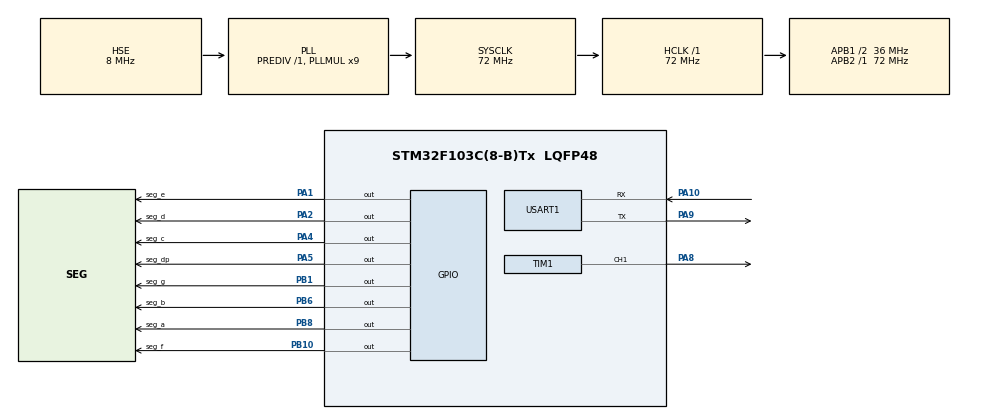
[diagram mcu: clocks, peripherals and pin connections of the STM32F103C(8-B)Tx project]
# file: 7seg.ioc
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Dma.Request0=TIM1_CH1
Dma.TIM1_CH1.0.Direction=DMA_MEMORY_TO_PERIPH
Dma.TIM1_CH1.0.Instance=DMA1_Channel2
Dma.TIM1_CH1.0.MemDataAlignment=DMA_MDATAALIGN_HALFWORD
Dma.TIM1_CH1.0.MemInc=DMA_MINC_ENABLE
Dma.TIM1_CH1.0.Mode=DMA_NORMAL
Dma.TIM1_CH1.0.PeriphDataAlignment=DMA_PDATAALIGN_HALFWORD
Dma.TIM1_CH1.0.PeriphInc=DMA_PINC_DISABLE
Dma.TIM1_CH1.0.Priority=DMA_PRIORITY_LOW
Mcu.Family=STM32F1
Mcu.Name=STM32F103C(8-B)Tx
Mcu.Package=LQFP48
NVIC.DMA1_Channel2_IRQn=true\:0\:0\:false\:false\:true\:false\:true\:true
NVIC.PriorityGroup=NVIC_PRIORITYGROUP_4
NVIC.TIM1_TRG_COM_IRQn=true\:0\:0\:false\:false\:true\:true\:true\:true
PA1.GPIO_Label=seg_e
PA1.Signal=GPIO_Output
PA10.Mode=Asynchronous
PA10.Signal=USART1_RX
PA2.GPIO_Label=seg_d
PA2.Signal=GPIO_Output
PA4.GPIO_Label=seg_c
PA4.Signal=GPIO_Output
PA5.GPIO_Label=seg_dp
PA5.Signal=GPIO_Output
PA8.Signal=S_TIM1_CH1
PA9.Mode=Asynchronous
PA9.Signal=USART1_TX
PB1.GPIO_Label=seg_g
PB1.Signal=GPIO_Output
PB10.GPIO_Label=seg_f
PB10.Signal=GPIO_Output
PB6.GPIO_Label=seg_b
PB6.Signal=GPIO_Output
PB8.GPIO_Label=seg_a
PB8.Signal=GPIO_Output
PD0-OSC_IN.Mode=HSE-External-Oscillator
PD0-OSC_IN.Signal=RCC_OSC_IN
PD1-OSC_OUT.Mode=HSE-External-Oscillator
PD1-OSC_OUT.Signal=RCC_OSC_OUT
ProjectManager.HeapSize=0x200
ProjectManager.StackSize=0x400
ProjectManager.TargetToolchain=Makefile
RCC.AHBFreq_Value=72000000
RCC.APB1CLKDivider=RCC_HCLK_DIV2
RCC.APB1Freq_Value=36000000
RCC.APB1TimFreq_Value=72000000
RCC.APB2Freq_Value=72000000
RCC.APB2TimFreq_Value=72000000
RCC.HCLKFreq_Value=72000000
RCC.PLLMUL=RCC_PLL_MUL9
RCC.PLLSourceVirtual=RCC_PLLSOURCE_HSE
RCC.SYSCLKFreq_VALUE=72000000
RCC.SYSCLKSource=RCC_SYSCLKSOURCE_PLLCLK
RCC.USBFreq_Value=72000000
SH.S_TIM1_CH1.0=TIM1_CH1,PWM Generation1 CH1
TIM1.Channel-PWM\ Generation1\ CH1=TIM_CHANNEL_1
TIM1.Period=1023
USART1.VirtualMode=VM_ASYNC
VP_SYS_VS_ND.Mode=No_Debug
VP_TIM1_VS_ClockSourceINT.Mode=Internal
board=custom

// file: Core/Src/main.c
/* USER CODE BEGIN Header */
/**
  ******************************************************************************
  * @file           : main.c
  * @brief          : Main program body
  ******************************************************************************
  * @attention
  *
  * Copyright (c) 2022 STMicroelectronics.
  * All rights reserved.
  *
  * This software is licensed under terms that can be found in the LICENSE file
  * in the root directory of this software component.
  * If no LICENSE file comes with this software, it is provided AS-IS.
  *
  ******************************************************************************
  */
/* USER CODE END Header */
#include "main.h"
#include "stdio.h"
#include "stdlib.h"
uint8_t receive;

TIM_HandleTypeDef htim1;
DMA_HandleTypeDef hdma_tim1_ch1;

UART_HandleTypeDef huart1;

void SystemClock_Config(void);
static void MX_GPIO_Init(void);
static void MX_DMA_Init(void);
static void MX_USART1_UART_Init(void);
static void MX_TIM1_Init(void);

/* USER CODE BEGIN 0 */
static void reset() {
	receive = '\0'; // do not repeat.
	__HAL_TIM_SET_COMPARE(&htim1, TIM_CHANNEL_1, 0);
	HAL_GPIO_WritePin(seg_a_GPIO_Port, seg_a_Pin, GPIO_PIN_RESET);
	HAL_GPIO_WritePin(seg_b_GPIO_Port, seg_b_Pin, GPIO_PIN_RESET);
	HAL_GPIO_WritePin(seg_c_GPIO_Port, seg_c_Pin, GPIO_PIN_RESET);
	HAL_GPIO_WritePin(seg_d_GPIO_Port, seg_d_Pin, GPIO_PIN_RESET);
	HAL_GPIO_WritePin(seg_e_GPIO_Port, seg_e_Pin, GPIO_PIN_RESET);
	HAL_GPIO_WritePin(seg_f_GPIO_Port, seg_f_Pin, GPIO_PIN_RESET);
	HAL_GPIO_WritePin(seg_g_GPIO_Port, seg_g_Pin, GPIO_PIN_RESET);
	HAL_GPIO_WritePin(seg_dp_GPIO_Port, seg_dp_Pin, GPIO_PIN_RESET);
}

static void seg(int pin) {
	switch(pin) {
		case 0:
			reset();
			__HAL_TIM_SET_COMPARE(&htim1,TIM_CHANNEL_1, pin*100);
			HAL_GPIO_WritePin(seg_a_GPIO_Port, seg_a_Pin, GPIO_PIN_SET);
			HAL_GPIO_WritePin(seg_f_GPIO_Port, seg_f_Pin, GPIO_PIN_SET);
			HAL_GPIO_WritePin(seg_e_GPIO_Port, seg_e_Pin, GPIO_PIN_SET);
			HAL_GPIO_WritePin(seg_d_GPIO_Port, seg_d_Pin, GPIO_PIN_SET);
			HAL_GPIO_WritePin(seg_c_GPIO_Port, seg_c_Pin, GPIO_PIN_SET);
			HAL_GPIO_WritePin(seg_b_GPIO_Port, seg_b_Pin, GPIO_PIN_SET);
			break;
		case 1:
			reset();
			__HAL_TIM_SET_COMPARE(&htim1,TIM_CHANNEL_1, pin*100);
			HAL_GPIO_WritePin(seg_b_GPIO_Port, seg_b_Pin, GPIO_PIN_SET);
			HAL_GPIO_WritePin(seg_c_GPIO_Port, seg_c_Pin, GPIO_PIN_SET);
			break;
		case 2:
			reset();
			__HAL_TIM_SET_COMPARE(&htim1,TIM_CHANNEL_1, pin*100);
			HAL_GPIO_WritePin(seg_a_GPIO_Port, seg_a_Pin, GPIO_PIN_SET);
			HAL_GPIO_WritePin(seg_b_GPIO_Port, seg_b_Pin, GPIO_PIN_SET);
			HAL_GPIO_WritePin(seg_g_GPIO_Port, seg_g_Pin, GPIO_PIN_SET);
			HAL_GPIO_WritePin(seg_e_GPIO_Port, seg_e_Pin, GPIO_PIN_SET);
			HAL_GPIO_WritePin(seg_d_GPIO_Port, seg_d_Pin, GPIO_PIN_SET);

			break;
		case 3:
			reset();
			__HAL_TIM_SET_COMPARE(&htim1,TIM_CHANNEL_1, pin*100);
			HAL_GPIO_WritePin(seg_a_GPIO_Port, seg_a_Pin, GPIO_PIN_SET);
			HAL_GPIO_WritePin(seg_b_GPIO_Port, seg_b_Pin, GPIO_PIN_SET);
			HAL_GPIO_WritePin(seg_g_GPIO_Port, seg_g_Pin, GPIO_PIN_SET);
			HAL_GPIO_WritePin(seg_c_GPIO_Port, seg_c_Pin, GPIO_PIN_SET);
			HAL_GPIO_WritePin(seg_d_GPIO_Port, seg_d_Pin, GPIO_PIN_SET);
			break;

		case 4:
			reset();
			__HAL_TIM_SET_COMPARE(&htim1,TIM_CHANNEL_1, pin*100);
			HAL_GPIO_WritePin(seg_c_GPIO_Port, seg_c_Pin, GPIO_PIN_SET);
			HAL_GPIO_WritePin(seg_b_GPIO_Port, seg_b_Pin, GPIO_PIN_SET);
			HAL_GPIO_WritePin(seg_g_GPIO_Port, seg_g_Pin, GPIO_PIN_SET);
			HAL_GPIO_WritePin(seg_f_GPIO_Port, seg_f_Pin, GPIO_PIN_SET);
			break;

		case 5:
			reset();
			__HAL_TIM_SET_COMPARE(&htim1,TIM_CHANNEL_1, pin*100);
			HAL_GPIO_WritePin(seg_a_GPIO_Port, seg_a_Pin, GPIO_PIN_SET);
			HAL_GPIO_WritePin(seg_c_GPIO_Port, seg_c_Pin, GPIO_PIN_SET);
			HAL_GPIO_WritePin(seg_g_GPIO_Port, seg_g_Pin, GPIO_PIN_SET);
			HAL_GPIO_WritePin(seg_f_GPIO_Port, seg_f_Pin, GPIO_PIN_SET);
			HAL_GPIO_WritePin(seg_d_GPIO_Port, seg_d_Pin, GPIO_PIN_SET);

			break;
		case 6:
			reset();
			__HAL_TIM_SET_COMPARE(&htim1,TIM_CHANNEL_1, pin*100);
			HAL_GPIO_WritePin(seg_a_GPIO_Port, seg_a_Pin, GPIO_PIN_SET);
			HAL_GPIO_WritePin(seg_c_GPIO_Port, seg_c_Pin, GPIO_PIN_SET);
			HAL_GPIO_WritePin(seg_g_GPIO_Port, seg_g_Pin, GPIO_PIN_SET);
			HAL_GPIO_WritePin(seg_f_GPIO_Port, seg_f_Pin, GPIO_PIN_SET);
			HAL_GPIO_WritePin(seg_d_GPIO_Port, seg_d_Pin, GPIO_PIN_SET);
			HAL_GPIO_WritePin(seg_e_GPIO_Port, seg_e_Pin, GPIO_PIN_SET);
			break;
		case 7:
			reset();
			__HAL_TIM_SET_COMPARE(&htim1,TIM_CHANNEL_1,pin*100);
			HAL_GPIO_WritePin(seg_a_GPIO_Port, seg_a_Pin, GPIO_PIN_SET);
			HAL_GPIO_WritePin(seg_c_GPIO_Port, seg_c_Pin, GPIO_PIN_SET);
			HAL_GPIO_WritePin(seg_b_GPIO_Port, seg_b_Pin, GPIO_PIN_SET);
			break;

		case 8:
			reset();
			__HAL_TIM_SET_COMPARE(&htim1,TIM_CHANNEL_1,pin*100);
			HAL_GPIO_WritePin(seg_a_GPIO_Port, seg_a_Pin, GPIO_PIN_SET);
			HAL_GPIO_WritePin(seg_c_GPIO_Port, seg_c_Pin, GPIO_PIN_SET);
			HAL_GPIO_WritePin(seg_g_GPIO_Port, seg_g_Pin, GPIO_PIN_SET);
			HAL_GPIO_WritePin(seg_f_GPIO_Port, seg_f_Pin, GPIO_PIN_SET);
			HAL_GPIO_WritePin(seg_d_GPIO_Port, seg_d_Pin, GPIO_PIN_SET);
			HAL_GPIO_WritePin(seg_e_GPIO_Port, seg_e_Pin, GPIO_PIN_SET);
			HAL_GPIO_WritePin(seg_b_GPIO_Port, seg_b_Pin, GPIO_PIN_SET);
			break;

		case 9:
			reset();
			__HAL_TIM_SET_COMPARE(&htim1,TIM_CHANNEL_1,pin*100);
			HAL_GPIO_WritePin(seg_a_GPIO_Port, seg_a_Pin, GPIO_PIN_SET);
			HAL_GPIO_WritePin(seg_c_GPIO_Port, seg_c_Pin, GPIO_PIN_SET);
			HAL_GPIO_WritePin(seg_g_GPIO_Port, seg_g_Pin, GPIO_PIN_SET);
			HAL_GPIO_WritePin(seg_f_GPIO_Port, seg_f_Pin, GPIO_PIN_SET);
			HAL_GPIO_WritePin(seg_d_GPIO_Port, seg_d_Pin, GPIO_PIN_SET);
			HAL_GPIO_WritePin(seg_b_GPIO_Port, seg_b_Pin, GPIO_PIN_SET);

			break;

		case 'l' - '0':
			for(int i=0; i<10; i++) {
				seg(i);
				HAL_Delay(1000);
			}
			reset();
		case 'r' - '0':
			reset();
			break;

		case '.' - '0':
			reset();
			HAL_GPIO_WritePin(seg_dp_GPIO_Port, seg_dp_Pin, GPIO_PIN_SET);
			break;

		case 'a'- '0':
			reset();

			HAL_GPIO_WritePin(seg_a_GPIO_Port, seg_a_Pin, GPIO_PIN_SET);
			HAL_GPIO_WritePin(seg_c_GPIO_Port, seg_c_Pin, GPIO_PIN_SET);
			HAL_GPIO_WritePin(seg_g_GPIO_Port, seg_g_Pin, GPIO_PIN_SET);
			HAL_GPIO_WritePin(seg_f_GPIO_Port, seg_f_Pin, GPIO_PIN_SET);
			HAL_GPIO_WritePin(seg_d_GPIO_Port, seg_d_Pin, GPIO_PIN_SET);
			HAL_GPIO_WritePin(seg_b_GPIO_Port, seg_b_Pin, GPIO_PIN_SET);

			break;
		case 'b'- '0':
			reset();

			HAL_GPIO_WritePin(seg_a_GPIO_Port, seg_a_Pin, GPIO_PIN_SET);
			HAL_GPIO_WritePin(seg_c_GPIO_Port, seg_c_Pin, GPIO_PIN_SET);
			HAL_GPIO_WritePin(seg_g_GPIO_Port, seg_g_Pin, GPIO_PIN_SET);
			HAL_GPIO_WritePin(seg_f_GPIO_Port, seg_f_Pin, GPIO_PIN_SET);
			HAL_GPIO_WritePin(seg_d_GPIO_Port, seg_d_Pin, GPIO_PIN_SET);
			HAL_GPIO_WritePin(seg_b_GPIO_Port, seg_b_Pin, GPIO_PIN_SET);

			break;
		case 'c'- '0':
			reset();

			HAL_GPIO_WritePin(seg_a_GPIO_Port, seg_a_Pin, GPIO_PIN_SET);
			HAL_GPIO_WritePin(seg_c_GPIO_Port, seg_c_Pin, GPIO_PIN_SET);
			HAL_GPIO_WritePin(seg_g_GPIO_Port, seg_g_Pin, GPIO_PIN_SET);
			HAL_GPIO_WritePin(seg_f_GPIO_Port, seg_f_Pin, GPIO_PIN_SET);
			HAL_GPIO_WritePin(seg_d_GPIO_Port, seg_d_Pin, GPIO_PIN_SET);
			HAL_GPIO_WritePin(seg_b_GPIO_Port, seg_b_Pin, GPIO_PIN_SET);

			break;
		case 'd'- '0':
			reset();

			HAL_GPIO_WritePin(seg_a_GPIO_Port, seg_a_Pin, GPIO_PIN_SET);
			HAL_GPIO_WritePin(seg_c_GPIO_Port, seg_c_Pin, GPIO_PIN_SET);
			HAL_GPIO_WritePin(seg_g_GPIO_Port, seg_g_Pin, GPIO_PIN_SET);
			HAL_GPIO_WritePin(seg_f_GPIO_Port, seg_f_Pin, GPIO_PIN_SET);
			HAL_GPIO_WritePin(seg_d_GPIO_Port, seg_d_Pin, GPIO_PIN_SET);
			HAL_GPIO_WritePin(seg_b_GPIO_Port, seg_b_Pin, GPIO_PIN_SET);

			break;
		case 'a'- '0':
			reset();

			HAL_GPIO_WritePin(seg_a_GPIO_Port, seg_a_Pin, GPIO_PIN_SET);
			HAL_GPIO_WritePin(seg_c_GPIO_Port, seg_c_Pin, GPIO_PIN_SET);
			HAL_GPIO_WritePin(seg_g_GPIO_Port, seg_g_Pin, GPIO_PIN_SET);
			HAL_GPIO_WritePin(seg_f_GPIO_Port, seg_f_Pin, GPIO_PIN_SET);
			HAL_GPIO_WritePin(seg_d_GPIO_Port, seg_d_Pin, GPIO_PIN_SET);
			HAL_GPIO_WritePin(seg_b_GPIO_Port, seg_b_Pin, GPIO_PIN_SET);

			break;

		case 'e'- '0':
			reset();

			HAL_GPIO_WritePin(seg_a_GPIO_Port, seg_a_Pin, GPIO_PIN_SET);
			HAL_GPIO_WritePin(seg_c_GPIO_Port, seg_c_Pin, GPIO_PIN_SET);
			HAL_GPIO_WritePin(seg_g_GPIO_Port, seg_g_Pin, GPIO_PIN_SET);
			HAL_GPIO_WritePin(seg_f_GPIO_Port, seg_f_Pin, GPIO_PIN_SET);
			HAL_GPIO_WritePin(seg_d_GPIO_Port, seg_d_Pin, GPIO_PIN_SET);
			HAL_GPIO_WritePin(seg_b_GPIO_Port, seg_b_Pin, GPIO_PIN_SET);

			break;

		case 'f' - '0':
			reset();

			HAL_GPIO_WritePin(seg_a_GPIO_Port, seg_a_Pin, GPIO_PIN_SET);
			HAL_GPIO_WritePin(seg_c_GPIO_Port, seg_c_Pin, GPIO_PIN_SET);
			HAL_GPIO_WritePin(seg_g_GPIO_Port, seg_g_Pin, GPIO_PIN_SET);
			HAL_GPIO_WritePin(seg_f_GPIO_Port, seg_f_Pin, GPIO_PIN_SET);
			HAL_GPIO_WritePin(seg_d_GPIO_Port, seg_d_Pin, GPIO_PIN_SET);
			HAL_GPIO_WritePin(seg_b_GPIO_Port, seg_b_Pin, GPIO_PIN_SET);

			break;
		default:
			break;
	}
}

/* USER CODE END 0 */

/**
  * @brief  The application entry poinstm32 uart input poll to integert.
  * @retval int
  */
int main(void)
{

  /* MCU Configuration--------------------------------------------------------*/

  /* Reset of all peripherals, Initializes the Flash interface and the Systick. */
  HAL_Init();

  /* Configure the system clock */
  SystemClock_Config();

  /* Initialize all configured peripherals */
  MX_GPIO_Init();
  MX_DMA_Init();
  MX_USART1_UART_Init();
  MX_TIM1_Init();
  /* USER CODE BEGIN 2 */
  	//TIM1->CCR1 = 100;
  	HAL_TIM_PWM_Start(&htim1, TIM_CHANNEL_1);

  /* USER CODE END 2 */
//	seg(2);
  /* Infinite loop */
  while (1)
  {
	HAL_UART_Receive(&huart1, &receive, 1,100);
	seg(receive - '0');
  }
}

void SystemClock_Config(void)
{
  RCC_OscInitTypeDef RCC_OscInitStruct = {0};
  RCC_ClkInitTypeDef RCC_ClkInitStruct = {0};

  /** Initializes the RCC Oscillators according to the specified parameters
  * in the RCC_OscInitTypeDef structure.
  */
  RCC_OscInitStruct.OscillatorType = RCC_OSCILLATORTYPE_HSE;
  RCC_OscInitStruct.HSEState = RCC_HSE_ON;
  RCC_OscInitStruct.HSEPredivValue = RCC_HSE_PREDIV_DIV1;
  RCC_OscInitStruct.HSIState = RCC_HSI_ON;
  RCC_OscInitStruct.PLL.PLLState = RCC_PLL_ON;
  RCC_OscInitStruct.PLL.PLLSource = RCC_PLLSOURCE_HSE;
  RCC_OscInitStruct.PLL.PLLMUL = RCC_PLL_MUL9;
  if (HAL_RCC_OscConfig(&RCC_OscInitStruct) != HAL_OK)
  {
    Error_Handler();
  }

  /** Initializes the CPU, AHB and APB buses clocks
  */
  RCC_ClkInitStruct.ClockType = RCC_CLOCKTYPE_HCLK|RCC_CLOCKTYPE_SYSCLK
                              |RCC_CLOCKTYPE_PCLK1|RCC_CLOCKTYPE_PCLK2;
  RCC_ClkInitStruct.SYSCLKSource = RCC_SYSCLKSOURCE_PLLCLK;
  RCC_ClkInitStruct.AHBCLKDivider = RCC_SYSCLK_DIV1;
  RCC_ClkInitStruct.APB1CLKDivider = RCC_HCLK_DIV2;
  RCC_ClkInitStruct.APB2CLKDivider = RCC_HCLK_DIV1;

  if (HAL_RCC_ClockConfig(&RCC_ClkInitStruct, FLASH_LATENCY_2) != HAL_OK)
  {
    Error_Handler();
  }
}

static void MX_TIM1_Init(void)
{

  TIM_ClockConfigTypeDef sClockSourceConfig = {0};
  TIM_MasterConfigTypeDef sMasterConfig = {0};
  TIM_OC_InitTypeDef sConfigOC = {0};
  TIM_BreakDeadTimeConfigTypeDef sBreakDeadTimeConfig = {0};

  htim1.Instance = TIM1;
  htim1.Init.Prescaler = 0;
  htim1.Init.CounterMode = TIM_COUNTERMODE_UP;
  htim1.Init.Period = 1023;
  htim1.Init.ClockDivision = TIM_CLOCKDIVISION_DIV1;
  htim1.Init.RepetitionCounter = 0;
  htim1.Init.AutoReloadPreload = TIM_AUTORELOAD_PRELOAD_DISABLE;
  if (HAL_TIM_Base_Init(&htim1) != HAL_OK)
  {
    Error_Handler();
  }
  sClockSourceConfig.ClockSource = TIM_CLOCKSOURCE_INTERNAL;
  if (HAL_TIM_ConfigClockSource(&htim1, &sClockSourceConfig) != HAL_OK)
  {
    Error_Handler();
  }
  if (HAL_TIM_PWM_Init(&htim1) != HAL_OK)
  {
    Error_Handler();
  }
  sMasterConfig.MasterOutputTrigger = TIM_TRGO_RESET;
  sMasterConfig.MasterSlaveMode = TIM_MASTERSLAVEMODE_DISABLE;
  if (HAL_TIMEx_MasterConfigSynchronization(&htim1, &sMasterConfig) != HAL_OK)
  {
    Error_Handler();
  }
  sConfigOC.OCMode = TIM_OCMODE_PWM1;
  sConfigOC.Pulse = 0;
  sConfigOC.OCPolarity = TIM_OCPOLARITY_HIGH;
  sConfigOC.OCNPolarity = TIM_OCNPOLARITY_HIGH;
  sConfigOC.OCFastMode = TIM_OCFAST_DISABLE;
  sConfigOC.OCIdleState = TIM_OCIDLESTATE_RESET;
  sConfigOC.OCNIdleState = TIM_OCNIDLESTATE_RESET;
  if (HAL_TIM_PWM_ConfigChannel(&htim1, &sConfigOC, TIM_CHANNEL_1) != HAL_OK)
  {
    Error_Handler();
  }
  sBreakDeadTimeConfig.OffStateRunMode = TIM_OSSR_DISABLE;
  sBreakDeadTimeConfig.OffStateIDLEMode = TIM_OSSI_DISABLE;
  sBreakDeadTimeConfig.LockLevel = TIM_LOCKLEVEL_OFF;
  sBreakDeadTimeConfig.DeadTime = 0;
  sBreakDeadTimeConfig.BreakState = TIM_BREAK_DISABLE;
  sBreakDeadTimeConfig.BreakPolarity = TIM_BREAKPOLARITY_HIGH;
  sBreakDeadTimeConfig.AutomaticOutput = TIM_AUTOMATICOUTPUT_DISABLE;
  if (HAL_TIMEx_ConfigBreakDeadTime(&htim1, &sBreakDeadTimeConfig) != HAL_OK)
  {
    Error_Handler();
  }
  HAL_TIM_MspPostInit(&htim1);

}

static void MX_USART1_UART_Init(void)
{

  huart1.Instance = USART1;
  huart1.Init.BaudRate = 115200;
  huart1.Init.WordLength = UART_WORDLENGTH_8B;
  huart1.Init.StopBits = UART_STOPBITS_1;
  huart1.Init.Parity = UART_PARITY_NONE;
  huart1.Init.Mode = UART_MODE_TX_RX;
  huart1.Init.HwFlowCtl = UART_HWCONTROL_NONE;
  huart1.Init.OverSampling = UART_OVERSAMPLING_16;
  if (HAL_UART_Init(&huart1) != HAL_OK)
  {
    Error_Handler();
  }

}

static void MX_DMA_Init(void)
{

  /* DMA controller clock enable */
  __HAL_RCC_DMA1_CLK_ENABLE();

  /* DMA interrupt init */
  /* DMA1_Channel2_IRQn interrupt configuration */
  HAL_NVIC_SetPriority(DMA1_Channel2_IRQn, 0, 0);
  HAL_NVIC_EnableIRQ(DMA1_Channel2_IRQn);

}

static void MX_GPIO_Init(void)
{
  GPIO_InitTypeDef GPIO_InitStruct = {0};

  /* GPIO Ports Clock Enable */
  __HAL_RCC_GPIOD_CLK_ENABLE();
  __HAL_RCC_GPIOA_CLK_ENABLE();
  __HAL_RCC_GPIOB_CLK_ENABLE();

  /*Configure GPIO pin Output Level */
  HAL_GPIO_WritePin(GPIOA, seg_e_Pin|seg_d_Pin|seg_c_Pin|seg_dp_Pin, GPIO_PIN_RESET);

  /*Configure GPIO pin Output Level */
  HAL_GPIO_WritePin(GPIOB, seg_g_Pin|seg_f_Pin|seg_b_Pin|seg_a_Pin, GPIO_PIN_RESET);

  /*Configure GPIO pins : seg_e_Pin seg_d_Pin seg_c_Pin seg_dp_Pin */
  GPIO_InitStruct.Pin = seg_e_Pin|seg_d_Pin|seg_c_Pin|seg_dp_Pin;
  GPIO_InitStruct.Mode = GPIO_MODE_OUTPUT_PP;
  GPIO_InitStruct.Pull = GPIO_NOPULL;
  GPIO_InitStruct.Speed = GPIO_SPEED_FREQ_LOW;
  HAL_GPIO_Init(GPIOA, &GPIO_InitStruct);

  /*Configure GPIO pins : seg_g_Pin seg_f_Pin seg_b_Pin seg_a_Pin */
  GPIO_InitStruct.Pin = seg_g_Pin|seg_f_Pin|seg_b_Pin|seg_a_Pin;
  GPIO_InitStruct.Mode = GPIO_MODE_OUTPUT_PP;
  GPIO_InitStruct.Pull = GPIO_NOPULL;
  GPIO_InitStruct.Speed = GPIO_SPEED_FREQ_LOW;
  HAL_GPIO_Init(GPIOB, &GPIO_InitStruct);

}

void Error_Handler(void)
{
  __disable_irq();
  while (1)
  {
  }
}
